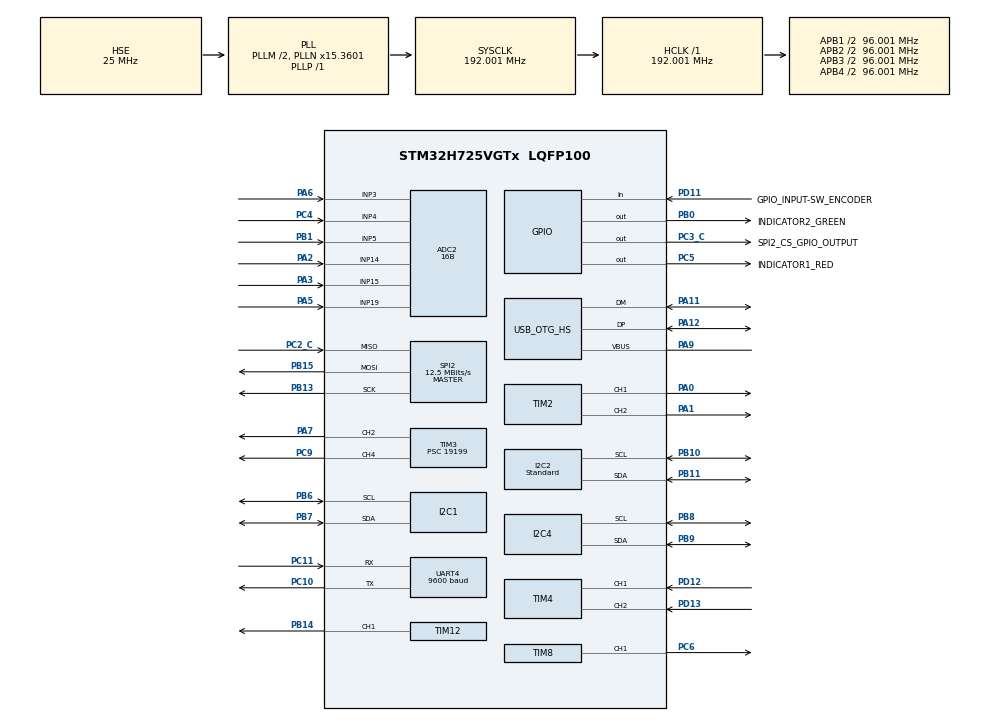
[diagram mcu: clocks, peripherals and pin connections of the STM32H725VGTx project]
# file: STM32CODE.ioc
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ADC2.Channel-11\#ChannelRegularConversion=ADC_CHANNEL_14
ADC2.Channel-12\#ChannelRegularConversion=ADC_CHANNEL_15
ADC2.Channel-13\#ChannelRegularConversion=ADC_CHANNEL_19
ADC2.ClockPrescaler=ADC_CLOCK_ASYNC_DIV1
ADC2.ContinuousConvMode=DISABLE
ADC2.DiscontinuousConvMode=ENABLE
ADC2.EOCSelection=ADC_EOC_SEQ_CONV
ADC2.EnableRegularConversion=ENABLE
ADC2.NbrOfConversion=3
ADC2.NbrOfConversionFlag=1
ADC2.NbrOfDiscConversion=3
ADC2.OffsetNumber-11\#ChannelRegularConversion=ADC_OFFSET_NONE
ADC2.OffsetNumber-12\#ChannelRegularConversion=ADC_OFFSET_NONE
ADC2.OffsetNumber-13\#ChannelRegularConversion=ADC_OFFSET_NONE
ADC2.OffsetSignedSaturation-11\#ChannelRegularConversion=DISABLE
ADC2.OffsetSignedSaturation-12\#ChannelRegularConversion=DISABLE
ADC2.OffsetSignedSaturation-13\#ChannelRegularConversion=DISABLE
ADC2.Rank-11\#ChannelRegularConversion=1
ADC2.Rank-12\#ChannelRegularConversion=2
ADC2.Rank-13\#ChannelRegularConversion=3
ADC2.Resolution=ADC_RESOLUTION_16B
ADC2.SamplingTime-11\#ChannelRegularConversion=ADC_SAMPLETIME_387CYCLES_5
ADC2.SamplingTime-12\#ChannelRegularConversion=ADC_SAMPLETIME_387CYCLES_5
ADC2.SamplingTime-13\#ChannelRegularConversion=ADC_SAMPLETIME_387CYCLES_5
CORTEX_M7.default_mode_Activation=1
I2C1.Timing=0x10C0D8FF
I2C2.I2C_Speed_Mode=I2C_Standard
I2C2.Timing=0x10C0D8FF
I2C4.Timing=0x10C0D8FF
Mcu.Family=STM32H7
Mcu.Name=STM32H725VGTx
Mcu.Package=LQFP100
NVIC.ADC_IRQn=true\:0\:0\:false\:false\:true\:true\:true\:true
NVIC.OTG_HS_IRQn=true\:0\:0\:false\:false\:true\:false\:true\:true
NVIC.PriorityGroup=NVIC_PRIORITYGROUP_4
NVIC.UART4_IRQn=true\:0\:0\:false\:false\:true\:true\:true\:true
PA0.Signal=S_TIM2_CH1_ETR
PA1.Signal=S_TIM2_CH2
PA11.Mode=Device_Only_FS
PA11.Signal=USB_OTG_HS_DM
PA12.Mode=Device_Only_FS
PA12.Signal=USB_OTG_HS_DP
PA13(JTMS/SWDIO).Mode=JTAG_5_pins
PA13(JTMS/SWDIO).Signal=DEBUG_JTMS-SWDIO
PA14(JTCK/SWCLK).Mode=JTAG_5_pins
PA14(JTCK/SWCLK).Signal=DEBUG_JTCK-SWCLK
PA15(JTDI).Mode=JTAG_5_pins
PA15(JTDI).Signal=DEBUG_JTDI
PA2.Signal=ADCx_INP14
PA3.Signal=ADCx_INP15
PA5.Signal=ADCx_INP19
PA6.Signal=ADCx_INP3
PA7.Signal=S_TIM3_CH2
PA9.Mode=Activate_VBUS_FS
PA9.Signal=USB_OTG_HS_VBUS
PB0.GPIO_Label=INDICATOR2_GREEN
PB0.Signal=GPIO_Output
PB1.Signal=ADCx_INP5
PB10.Mode=I2C
PB10.Signal=I2C2_SCL
PB11.Mode=I2C
PB11.Signal=I2C2_SDA
PB13.Mode=Full_Duplex_Master
PB13.Signal=SPI2_SCK
PB14.Signal=S_TIM12_CH1
PB15.Mode=Full_Duplex_Master
PB15.Signal=SPI2_MOSI
PB3(JTDO/TRACESWO).Mode=JTAG_5_pins
PB3(JTDO/TRACESWO).Signal=DEBUG_JTDO-SWO
PB4(NJTRST).Mode=JTAG_5_pins
PB4(NJTRST).Signal=DEBUG_JTRST
PB6.Mode=I2C
PB6.Signal=I2C1_SCL
PB7.Mode=I2C
PB7.Signal=I2C1_SDA
PB8.Mode=I2C
PB8.Signal=I2C4_SCL
PB9.Mode=I2C
PB9.Signal=I2C4_SDA
PC10.Mode=Asynchronous
PC10.Signal=UART4_TX
PC11.Mode=Asynchronous
PC11.Signal=UART4_RX
PC14-OSC32_IN.Mode=LSE-External-Oscillator
PC14-OSC32_IN.Signal=RCC_OSC32_IN
PC15-OSC32_OUT.Mode=LSE-External-Oscillator
PC15-OSC32_OUT.Signal=RCC_OSC32_OUT
PC2_C.Mode=Full_Duplex_Master
PC2_C.Signal=SPI2_MISO
PC3_C.GPIO_Label=SPI2_CS_GPIO_OUTPUT
PC3_C.Signal=GPIO_Output
PC4.Signal=ADCx_INP4
PC5.GPIO_Label=INDICATOR1_RED
PC5.PinState=GPIO_PIN_SET
PC5.Signal=GPIO_Output
PC6.Signal=S_TIM8_CH1
PC9.Signal=S_TIM3_CH4
PD11.GPIO_Label=GPIO_INPUT-SW_ENCODER
PD11.GPIO_PuPd=GPIO_NOPULL
PD11.Signal=GPIO_Input
PD12.GPIO_PuPd=GPIO_NOPULL
PD12.Signal=S_TIM4_CH1
PD13.GPIO_PuPd=GPIO_NOPULL
PD13.Signal=S_TIM4_CH2
PH0-OSC_IN.Mode=HSE-External-Oscillator
PH0-OSC_IN.Signal=RCC_OSC_IN
PH1-OSC_OUT.Mode=HSE-External-Oscillator
PH1-OSC_OUT.Signal=RCC_OSC_OUT
ProjectManager.HeapSize=0x200
ProjectManager.StackSize=0x400
ProjectManager.TargetToolchain=STM32CubeIDE
RCC.ADCCLockSelection=RCC_ADCCLKSOURCE_CLKP
RCC.ADCFreq_Value=25000000
RCC.APB1Freq_Value=96000671.38671875
RCC.APB2Freq_Value=96000671.38671875
RCC.APB3Freq_Value=96000671.38671875
RCC.APB4Freq_Value=96000671.38671875
RCC.CKPERSourceSelection=RCC_CLKPSOURCE_HSE
RCC.CortexFreq_Value=192001342.7734375
RCC.D1PPRE=RCC_APB3_DIV2
RCC.D2PPRE1=RCC_APB1_DIV2
RCC.D2PPRE2=RCC_APB2_DIV2
RCC.D3PPRE=RCC_APB4_DIV2
RCC.DIVM1=2
RCC.DIVM2=4
RCC.DIVN1=15
RCC.DIVN2=12
RCC.DIVP1=1
RCC.DIVP2=5
RCC.DIVQ1=4
RCC.HCLKFreq_Value=192001342.7734375
RCC.PLL2FRACN=0
RCC.PLL3FRACN=0
RCC.PLLFRACN=2950
RCC.PLLSourceVirtual=RCC_PLLSOURCE_HSE
RCC.SPI123CLockSelection=RCC_SPI123CLKSOURCE_CLKP
RCC.SYSCLKFreq_VALUE=192001342.7734375
RCC.SYSCLKSource=RCC_SYSCLKSOURCE_PLLCLK
RCC.SupplySource=PWR_LDO_SUPPLY
RCC.USBCLockSelection=RCC_USBCLKSOURCE_HSI48
RCC.USBFreq_Value=48000000
SH.ADCx_INP14.0=ADC2_INP14,IN14-Single-Ended
SH.ADCx_INP15.0=ADC2_INP15,IN15-Single-Ended
SH.ADCx_INP19.0=ADC2_INP19,IN19-Single-Ended
SH.ADCx_INP3.0=ADC2_INP3,IN3-Single-Ended
SH.ADCx_INP4.0=ADC2_INP4,IN4-Single-Ended
SH.ADCx_INP5.0=ADC2_INP5,IN5-Single-Ended
SH.S_TIM12_CH1.0=TIM12_CH1,PWM Generation1 CH1
SH.S_TIM2_CH1_ETR.0=TIM2_CH1,PWM Generation1 CH1
SH.S_TIM2_CH2.0=TIM2_CH2,PWM Generation2 CH2
SH.S_TIM3_CH2.0=TIM3_CH2,PWM Generation2 CH2
SH.S_TIM3_CH4.0=TIM3_CH4,PWM Generation4 CH4
SH.S_TIM4_CH1.0=TIM4_CH1,Encoder_Interface
SH.S_TIM4_CH2.0=TIM4_CH2,Encoder_Interface
SH.S_TIM8_CH1.0=TIM8_CH1,PWM Generation1 CH1
SPI2.BaudRatePrescaler=SPI_BAUDRATEPRESCALER_2
SPI2.CalculateBaudRate=12.5 MBits/s
SPI2.Direction=SPI_DIRECTION_2LINES
SPI2.Mode=SPI_MODE_MASTER
SPI2.VirtualType=VM_MASTER
TIM12.Channel-PWM\ Generation1\ CH1=TIM_CHANNEL_1
TIM2.Channel-PWM\ Generation1\ CH1=TIM_CHANNEL_1
TIM2.Channel-PWM\ Generation2\ CH2=TIM_CHANNEL_2
TIM3.AutoReloadPreload=TIM_AUTORELOAD_PRELOAD_DISABLE
TIM3.Channel-PWM\ Generation2\ CH2=TIM_CHANNEL_2
TIM3.Channel-PWM\ Generation4\ CH4=TIM_CHANNEL_4
TIM3.OCPolarity_4=TIM_OCPOLARITY_LOW
TIM3.Period=19999
TIM3.Prescaler=19199
TIM4.AutoReloadPreload=TIM_AUTORELOAD_PRELOAD_ENABLE
TIM4.EncoderMode=TIM_ENCODERMODE_TI12
TIM4.IC1Filter=10
TIM4.IC1Polarity=TIM_ICPOLARITY_RISING
TIM4.IC2Filter=0
TIM4.IC2Polarity=TIM_ICPOLARITY_RISING
TIM4.TIM_MasterOutputTrigger=TIM_TRGO_RESET
TIM8.Channel-PWM\ Generation1\ CH1=TIM_CHANNEL_1
UART4.BaudRate=9600
USB_DEVICE.CLASS_NAME_HS=CDC
USB_DEVICE.VirtualMode=Cdc
USB_DEVICE.VirtualModeHS=Cdc_HS
USB_OTG_HS.VirtualMode-Device_Only_FS=Device_Only_FS
VP_CORDIC_VS_CORDIC.Mode=CORDIC_Activate
VP_CRC_VS_CRC.Mode=CRC_Activate
VP_FMAC_VS_FMAC.Mode=FMAC_Activate
VP_MEMORYMAP_VS_MEMORYMAP.Mode=CurAppReg
VP_USB_DEVICE_VS_USB_DEVICE_CDC_HS.Mode=CDC_HS
board=custom

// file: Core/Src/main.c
/* USER CODE BEGIN Header */
/**
  ******************************************************************************
  * @file           : main.c
  * @brief          : Main program body
  ******************************************************************************
  * @attention
  *
  * Copyright (c) 2026 STMicroelectronics.
  * All rights reserved.
  *
  * This software is licensed under terms that can be found in the LICENSE file
  * in the root directory of this software component.
  * If no LICENSE file comes with this software, it is provided AS-IS.
  *
  ******************************************************************************
  */
/* USER CODE END Header */
#include "main.h"
#include "usb_device.h"

/* USER CODE BEGIN Includes */
#include <stdio.h>

#include "usbd_cdc_if.h"
extern USBD_HandleTypeDef hUsbDeviceHS;

#include "ssd1306.h"
#include "ssd1306_tests.h"
#include "ssd1306_fonts.h"

/* USER CODE END Includes */

ADC_HandleTypeDef hadc2;

CORDIC_HandleTypeDef hcordic;

CRC_HandleTypeDef hcrc;

FMAC_HandleTypeDef hfmac;

I2C_HandleTypeDef hi2c1;
I2C_HandleTypeDef hi2c2;
I2C_HandleTypeDef hi2c4;

SPI_HandleTypeDef hspi2;

TIM_HandleTypeDef htim2;
TIM_HandleTypeDef htim3;
TIM_HandleTypeDef htim4;
TIM_HandleTypeDef htim8;
TIM_HandleTypeDef htim12;

UART_HandleTypeDef huart4;

void SystemClock_Config(void);
void PeriphCommonClock_Config(void);
static void MPU_Config(void);
static void MX_GPIO_Init(void);
static void MX_I2C1_Init(void);
static void MX_I2C2_Init(void);
static void MX_SPI2_Init(void);
static void MX_TIM2_Init(void);
static void MX_TIM3_Init(void);
static void MX_TIM4_Init(void);
static void MX_TIM8_Init(void);
static void MX_TIM12_Init(void);
static void MX_UART4_Init(void);
static void MX_ADC2_Init(void);
static void MX_I2C4_Init(void);
static void MX_CORDIC_Init(void);
static void MX_CRC_Init(void);
static void MX_FMAC_Init(void);

/* USER CODE BEGIN 0 */

float voltage[3];
const float vref = 3.3f; // Voltage reference set by STM32H on VREF+
const uint32_t fs = 65535; // 16 bits ADC
float current2[3];
const float offset = 2.6f; // Datasheet: 2.5V, measured: ~2.6V
const float sensitivity = 0.8f; // Datasheet: 800mV per 1A

  uint8_t vbus[2];
  float vbus_real;

  uint8_t current[2];
  float current_real;

//ADC for ACS
uint32_t adc_buff[3];
uint8_t adc_ready = 0;

//UART4 - SBs
uint8_t rx_data[1];
uint8_t tx_data[1] = "t";

//screen
char buffer[40];
char buffer1[40];
char buffer2[40];
char buffer3[40];
volatile uint16_t encoder_value = 0;
volatile uint16_t encoder_last_value = 0;
volatile uint8_t encoder_changed = 0;

uint8_t switch_state;

void HAL_ADC_ConvCpltCallback(ADC_HandleTypeDef* hadc)
{
	adc_ready = 1;
}

void HAL_UART_RxCpltCallback(UART_HandleTypeDef *huart)
{
    if (huart->Instance == UART4)
    {
        HAL_UART_Transmit_IT(&huart4, tx_data, 1);
    }
}

void HAL_UART_TxCpltCallback(UART_HandleTypeDef *huart)
{
    if (huart->Instance == UART4)
    {
        HAL_UART_Receive_IT(&huart4, rx_data, 1);
    }
}

void HAL_TIM_IC_CaptureCallback(TIM_HandleTypeDef *htim)
{
    encoder_value = __HAL_TIM_GET_COUNTER(htim);
    encoder_changed = 1;
}

/* USER CODE END 0 */

int main(void)
{

  /* MPU Configuration--------------------------------------------------------*/
  MPU_Config();

  /* MCU Configuration--------------------------------------------------------*/

  /* Reset of all peripherals, Initializes the Flash interface and the Systick. */
  HAL_Init();

  /* Configure the system clock */
  SystemClock_Config();

  /* Configure the peripherals common clocks */
  PeriphCommonClock_Config();

  /* Initialize all configured peripherals */
  MX_GPIO_Init();
  MX_I2C1_Init();
  MX_I2C2_Init();
  MX_SPI2_Init();
  MX_TIM2_Init();
  MX_TIM3_Init();
  MX_TIM4_Init();
  MX_TIM8_Init();
  MX_TIM12_Init();
  MX_UART4_Init();
  MX_ADC2_Init();
  MX_I2C4_Init();
  MX_CORDIC_Init();
  MX_CRC_Init();
  MX_FMAC_Init();
  MX_USB_DEVICE_Init();

  /* Infinite loop */
  /* USER CODE BEGIN WHILE */

  /*s
  HAL_ADCEx_Calibration_Start(&hadc2, ADC_CALIB_OFFSET, ADC_SINGLE_ENDED);
  HAL_ADC_Start_IT(&hadc2);
  */

  HAL_TIM_PWM_Start(&htim3, TIM_CHANNEL_2);
  HAL_TIM_PWM_Start(&htim3, TIM_CHANNEL_4);

  ssd1306_Init();
  ssd1306_Fill(Black);

  HAL_TIM_Encoder_Start_IT(&htim4, TIM_CHANNEL_ALL);

  while (1)
  {

	  /*
	   *
	  HAL_UART_Transmit_IT(&huart4, tx_data, 1);
	   */

	  /**
	   * Selects the PWMx channel and defines the duty cycle.
	   *
	   */
	  __HAL_TIM_SET_COMPARE(&htim3, TIM_CHANNEL_2, 10000); // 50%
	  __HAL_TIM_SET_COMPARE(&htim3, TIM_CHANNEL_4, 10000); // 50%

	  /*
	   * Populating the buffer with available channels.
	   *
	   * The voltage readings are scaled down by half by voltage dividers.
	   * They need to multiply by 2.
	   *
	   */

	  HAL_ADC_Start_IT(&hadc2);
	  if(adc_ready == 1) {
		  adc_ready = 0;

		  for(int var = 0; var <= 2; var++){
			  adc_buff[var] = HAL_ADC_GetValue(&hadc2);
			  voltage[var] = 2*((adc_buff[var] * vref) / fs); // Multiplied by 2
			  current2[var] =(voltage[var]-offset)/sensitivity;
		  }
	  }

	  HAL_GPIO_TogglePin(GPIOB, GPIO_PIN_0);

	  /*
	   * Config Reset
	   *
	   *
	   */
		uint8_t configuration_write[2] = {0x00, 0x00};
		HAL_I2C_Mem_Write(&hi2c4, 0x41 << 1, 0x00, I2C_MEMADD_SIZE_8BIT, configuration_write, 2, HAL_MAX_DELAY);

		uint8_t configuration_read[2];
		HAL_I2C_Mem_Read(&hi2c4, (0x41 << 1), 0x0B,
						 I2C_MEMADD_SIZE_8BIT,
						 configuration_read, 2, HAL_MAX_DELAY);

	  /**
	   * Continuous Modes
	   * Current, Voltage and Temperature registers are updated continuously
	   * In single-shot mode, a trigger is required to start the measurement.
	   *
	   */

		uint8_t continuous_mode_write[2] = {0xF0, 0x00}; // Sets continuous mode for current/temp/bus_voltage
		HAL_I2C_Mem_Write(&hi2c4,
						  (0x41 << 1),
						  0x01,
						  I2C_MEMADD_SIZE_8BIT,
						  continuous_mode_write,
						  2,
						  HAL_MAX_DELAY);

		uint8_t continuous_mode_read[2]; // Reads the continuous mode settings
		HAL_I2C_Mem_Read(&hi2c4,
						 (0x41 << 1),
						 0x01,
						 I2C_MEMADD_SIZE_8BIT,
						 continuous_mode_read,
						 2,
						 HAL_MAX_DELAY);

	  	  /*
	  	   * VBUS measurement
	  	   * Conversion Factor: 3.125mV LSB
	  	   *
	  	   */

	  	  HAL_I2C_Mem_Read(&hi2c4,
	  	                   (0x41 << 1),
	  	                   0x05,   // VBUS register
	  	                   I2C_MEMADD_SIZE_8BIT,
						   vbus,
	  	                   2,
	  	                   HAL_MAX_DELAY);

	  	  uint16_t vbus_reading = (uint16_t)((vbus[0] << 8) | vbus[1]);
	  	  vbus_real = vbus_reading  * 0.003125f;

	  	  /*
	  	   * Current measurement
	  	   * Conversion Factor: 1.2mV LSB
	  	   *
	  	   */

	  	  HAL_I2C_Mem_Read(&hi2c4,
	  	                   (0x41 << 1),
	  	                   0x07,   // VBUS register
	  	                   I2C_MEMADD_SIZE_8BIT,
						   current,
	  	                   2,
	  	                   HAL_MAX_DELAY);

	  	  int16_t current_reading = (current[0] << 8) | current[1];
	  	  current_real = current_reading  * 0.0012f;

	      if (HAL_GPIO_ReadPin(GPIOD, GPIO_PIN_11) == GPIO_PIN_SET)
	      {
	          HAL_GPIO_WritePin(GPIOB, GPIO_PIN_0, GPIO_PIN_SET);
	          switch_state = 1;
	      } else {
	    	  HAL_GPIO_WritePin(GPIOB, GPIO_PIN_0, GPIO_PIN_RESET); // LD1 OFF
	    	  switch_state = 0;
	      }

		  ssd1306_SetCursor(6, 4);
		  ssd1306_WriteString("uMMC .v1.0", Font_7x10, White);

		  int whole = (int)current_real;
		  int frac = (int)((current_real - whole) * 100);

		  if (frac < 0) frac = -frac;

		  snprintf(buffer, sizeof(buffer), "Current: %d.%02d A", whole, frac);

		  ssd1306_SetCursor(6, 20);
		  ssd1306_WriteString(buffer, Font_7x10, White);

		  int whole1 = (int)vbus_real;
		  int frac1 = (int)((vbus_real - whole1) * 100);

		  if (frac1 < 0) frac1 = -frac1;

		  snprintf(buffer1, sizeof(buffer1), "Voltage: %d.%02d V", whole1, frac1);

		  ssd1306_SetCursor(6, 30);
		  ssd1306_WriteString(buffer1, Font_7x10, White);

		  int whole2 = (int)voltage[0];
		  int frac2 = (int)((voltage[0] - whole2) * 100);

		  if (frac2 < 0) frac2 = -frac2;

		  snprintf(buffer2, sizeof(buffer2), "ACS_V: %d.%02d V", whole2, frac2);

		  ssd1306_SetCursor(6, 40);
		  ssd1306_WriteString(buffer2, Font_7x10, White);

		  int whole3 = (int)current2[0];
		  int frac3 = (int)((current2[0] - whole3) * 100);

		  if (frac3 < 0) frac3 = -frac3;

		  snprintf(buffer3, sizeof(buffer3), "ACS_I: %d.%02d A", whole3, frac3);

		  ssd1306_SetCursor(6, 50);
		  ssd1306_WriteString(buffer3, Font_7x10, White);
		  ssd1306_UpdateScreen();

/*
	    HAL_GPIO_WritePin(GPIOB, GPIO_PIN_0, GPIO_PIN_SET);
	    HAL_Delay(250);
	    HAL_GPIO_WritePin(GPIOB, GPIO_PIN_0, GPIO_PIN_RESET);
	    HAL_Delay(250);
*/

    /* USER CODE END WHILE */

  }
}

void SystemClock_Config(void)
{
  RCC_OscInitTypeDef RCC_OscInitStruct = {0};
  RCC_ClkInitTypeDef RCC_ClkInitStruct = {0};

  /** Supply configuration update enable
  */
  HAL_PWREx_ConfigSupply(PWR_LDO_SUPPLY);

  /** Configure the main internal regulator output voltage
  */
  __HAL_PWR_VOLTAGESCALING_CONFIG(PWR_REGULATOR_VOLTAGE_SCALE1);

  while(!__HAL_PWR_GET_FLAG(PWR_FLAG_VOSRDY)) {}

  /** Initializes the RCC Oscillators according to the specified parameters
  * in the RCC_OscInitTypeDef structure.
  */
  RCC_OscInitStruct.OscillatorType = RCC_OSCILLATORTYPE_HSI48|RCC_OSCILLATORTYPE_HSE;
  RCC_OscInitStruct.HSEState = RCC_HSE_ON;
  RCC_OscInitStruct.HSI48State = RCC_HSI48_ON;
  RCC_OscInitStruct.PLL.PLLState = RCC_PLL_ON;
  RCC_OscInitStruct.PLL.PLLSource = RCC_PLLSOURCE_HSE;
  RCC_OscInitStruct.PLL.PLLM = 2;
  RCC_OscInitStruct.PLL.PLLN = 15;
  RCC_OscInitStruct.PLL.PLLP = 1;
  RCC_OscInitStruct.PLL.PLLQ = 4;
  RCC_OscInitStruct.PLL.PLLR = 2;
  RCC_OscInitStruct.PLL.PLLRGE = RCC_PLL1VCIRANGE_3;
  RCC_OscInitStruct.PLL.PLLVCOSEL = RCC_PLL1VCOWIDE;
  RCC_OscInitStruct.PLL.PLLFRACN = 2950;
  if (HAL_RCC_OscConfig(&RCC_OscInitStruct) != HAL_OK)
  {
    Error_Handler();
  }

  /** Initializes the CPU, AHB and APB buses clocks
  */
  RCC_ClkInitStruct.ClockType = RCC_CLOCKTYPE_HCLK|RCC_CLOCKTYPE_SYSCLK
                              |RCC_CLOCKTYPE_PCLK1|RCC_CLOCKTYPE_PCLK2
                              |RCC_CLOCKTYPE_D3PCLK1|RCC_CLOCKTYPE_D1PCLK1;
  RCC_ClkInitStruct.SYSCLKSource = RCC_SYSCLKSOURCE_PLLCLK;
  RCC_ClkInitStruct.SYSCLKDivider = RCC_SYSCLK_DIV1;
  RCC_ClkInitStruct.AHBCLKDivider = RCC_HCLK_DIV1;
  RCC_ClkInitStruct.APB3CLKDivider = RCC_APB3_DIV2;
  RCC_ClkInitStruct.APB1CLKDivider = RCC_APB1_DIV2;
  RCC_ClkInitStruct.APB2CLKDivider = RCC_APB2_DIV2;
  RCC_ClkInitStruct.APB4CLKDivider = RCC_APB4_DIV2;

  if (HAL_RCC_ClockConfig(&RCC_ClkInitStruct, FLASH_LATENCY_2) != HAL_OK)
  {
    Error_Handler();
  }
}

void PeriphCommonClock_Config(void)
{
  RCC_PeriphCLKInitTypeDef PeriphClkInitStruct = {0};

  /** Initializes the peripherals clock
  */
  PeriphClkInitStruct.PeriphClockSelection = RCC_PERIPHCLK_CKPER;
  PeriphClkInitStruct.CkperClockSelection = RCC_CLKPSOURCE_HSE;
  if (HAL_RCCEx_PeriphCLKConfig(&PeriphClkInitStruct) != HAL_OK)
  {
    Error_Handler();
  }
}

static void MX_ADC2_Init(void)
{

  ADC_ChannelConfTypeDef sConfig = {0};

  /** Common config
  */
  hadc2.Instance = ADC2;
  hadc2.Init.ClockPrescaler = ADC_CLOCK_ASYNC_DIV1;
  hadc2.Init.Resolution = ADC_RESOLUTION_16B;
  hadc2.Init.ScanConvMode = ADC_SCAN_ENABLE;
  hadc2.Init.EOCSelection = ADC_EOC_SEQ_CONV;
  hadc2.Init.LowPowerAutoWait = DISABLE;
  hadc2.Init.ContinuousConvMode = DISABLE;
  hadc2.Init.NbrOfConversion = 3;
  hadc2.Init.DiscontinuousConvMode = ENABLE;
  hadc2.Init.NbrOfDiscConversion = 3;
  hadc2.Init.ExternalTrigConv = ADC_SOFTWARE_START;
  hadc2.Init.ExternalTrigConvEdge = ADC_EXTERNALTRIGCONVEDGE_NONE;
  hadc2.Init.ConversionDataManagement = ADC_CONVERSIONDATA_DR;
  hadc2.Init.Overrun = ADC_OVR_DATA_PRESERVED;
  hadc2.Init.LeftBitShift = ADC_LEFTBITSHIFT_NONE;
  hadc2.Init.OversamplingMode = DISABLE;
  hadc2.Init.Oversampling.Ratio = 1;
  if (HAL_ADC_Init(&hadc2) != HAL_OK)
  {
    Error_Handler();
  }

  /** Configure Regular Channel
  */
  sConfig.Channel = ADC_CHANNEL_14;
  sConfig.Rank = ADC_REGULAR_RANK_1;
  sConfig.SamplingTime = ADC_SAMPLETIME_387CYCLES_5;
  sConfig.SingleDiff = ADC_SINGLE_ENDED;
  sConfig.OffsetNumber = ADC_OFFSET_NONE;
  sConfig.Offset = 0;
  sConfig.OffsetSignedSaturation = DISABLE;
  if (HAL_ADC_ConfigChannel(&hadc2, &sConfig) != HAL_OK)
  {
    Error_Handler();
  }

  /** Configure Regular Channel
  */
  sConfig.Channel = ADC_CHANNEL_15;
  sConfig.Rank = ADC_REGULAR_RANK_2;
  if (HAL_ADC_ConfigChannel(&hadc2, &sConfig) != HAL_OK)
  {
    Error_Handler();
  }

  /** Configure Regular Channel
  */
  sConfig.Channel = ADC_CHANNEL_19;
  sConfig.Rank = ADC_REGULAR_RANK_3;
  if (HAL_ADC_ConfigChannel(&hadc2, &sConfig) != HAL_OK)
  {
    Error_Handler();
  }

}

static void MX_CORDIC_Init(void)
{

  hcordic.Instance = CORDIC;
  if (HAL_CORDIC_Init(&hcordic) != HAL_OK)
  {
    Error_Handler();
  }

}

static void MX_CRC_Init(void)
{

  hcrc.Instance = CRC;
  hcrc.Init.DefaultPolynomialUse = DEFAULT_POLYNOMIAL_ENABLE;
  hcrc.Init.DefaultInitValueUse = DEFAULT_INIT_VALUE_ENABLE;
  hcrc.Init.InputDataInversionMode = CRC_INPUTDATA_INVERSION_NONE;
  hcrc.Init.OutputDataInversionMode = CRC_OUTPUTDATA_INVERSION_DISABLE;
  hcrc.InputDataFormat = CRC_INPUTDATA_FORMAT_BYTES;
  if (HAL_CRC_Init(&hcrc) != HAL_OK)
  {
    Error_Handler();
  }

}

static void MX_FMAC_Init(void)
{

  hfmac.Instance = FMAC;
  if (HAL_FMAC_Init(&hfmac) != HAL_OK)
  {
    Error_Handler();
  }

}

static void MX_I2C1_Init(void)
{

  hi2c1.Instance = I2C1;
  hi2c1.Init.Timing = 0x10C0D8FF;
  hi2c1.Init.OwnAddress1 = 0;
  hi2c1.Init.AddressingMode = I2C_ADDRESSINGMODE_7BIT;
  hi2c1.Init.DualAddressMode = I2C_DUALADDRESS_DISABLE;
  hi2c1.Init.OwnAddress2 = 0;
  hi2c1.Init.OwnAddress2Masks = I2C_OA2_NOMASK;
  hi2c1.Init.GeneralCallMode = I2C_GENERALCALL_DISABLE;
  hi2c1.Init.NoStretchMode = I2C_NOSTRETCH_DISABLE;
  if (HAL_I2C_Init(&hi2c1) != HAL_OK)
  {
    Error_Handler();
  }

  /** Configure Analogue filter
  */
  if (HAL_I2CEx_ConfigAnalogFilter(&hi2c1, I2C_ANALOGFILTER_ENABLE) != HAL_OK)
  {
    Error_Handler();
  }

  /** Configure Digital filter
  */
  if (HAL_I2CEx_ConfigDigitalFilter(&hi2c1, 0) != HAL_OK)
  {
    Error_Handler();
  }

}

static void MX_I2C2_Init(void)
{

  hi2c2.Instance = I2C2;
  hi2c2.Init.Timing = 0x10C0D8FF;
  hi2c2.Init.OwnAddress1 = 0;
  hi2c2.Init.AddressingMode = I2C_ADDRESSINGMODE_7BIT;
  hi2c2.Init.DualAddressMode = I2C_DUALADDRESS_DISABLE;
  hi2c2.Init.OwnAddress2 = 0;
  hi2c2.Init.OwnAddress2Masks = I2C_OA2_NOMASK;
  hi2c2.Init.GeneralCallMode = I2C_GENERALCALL_DISABLE;
  hi2c2.Init.NoStretchMode = I2C_NOSTRETCH_DISABLE;
  if (HAL_I2C_Init(&hi2c2) != HAL_OK)
  {
    Error_Handler();
  }

  /** Configure Analogue filter
  */
  if (HAL_I2CEx_ConfigAnalogFilter(&hi2c2, I2C_ANALOGFILTER_ENABLE) != HAL_OK)
  {
    Error_Handler();
  }

  /** Configure Digital filter
  */
  if (HAL_I2CEx_ConfigDigitalFilter(&hi2c2, 0) != HAL_OK)
  {
    Error_Handler();
  }

}

static void MX_I2C4_Init(void)
{

  hi2c4.Instance = I2C4;
  hi2c4.Init.Timing = 0x10C0D8FF;
  hi2c4.Init.OwnAddress1 = 0;
  hi2c4.Init.AddressingMode = I2C_ADDRESSINGMODE_7BIT;
  hi2c4.Init.DualAddressMode = I2C_DUALADDRESS_DISABLE;
  hi2c4.Init.OwnAddress2 = 0;
  hi2c4.Init.OwnAddress2Masks = I2C_OA2_NOMASK;
  hi2c4.Init.GeneralCallMode = I2C_GENERALCALL_DISABLE;
  hi2c4.Init.NoStretchMode = I2C_NOSTRETCH_DISABLE;
  if (HAL_I2C_Init(&hi2c4) != HAL_OK)
  {
    Error_Handler();
  }

  /** Configure Analogue filter
  */
  if (HAL_I2CEx_ConfigAnalogFilter(&hi2c4, I2C_ANALOGFILTER_ENABLE) != HAL_OK)
  {
    Error_Handler();
  }

  /** Configure Digital filter
  */
  if (HAL_I2CEx_ConfigDigitalFilter(&hi2c4, 0) != HAL_OK)
  {
    Error_Handler();
  }

}

static void MX_SPI2_Init(void)
{

  /* SPI2 parameter configuration*/
  hspi2.Instance = SPI2;
  hspi2.Init.Mode = SPI_MODE_MASTER;
  hspi2.Init.Direction = SPI_DIRECTION_2LINES;
  hspi2.Init.DataSize = SPI_DATASIZE_4BIT;
  hspi2.Init.CLKPolarity = SPI_POLARITY_LOW;
  hspi2.Init.CLKPhase = SPI_PHASE_1EDGE;
  hspi2.Init.NSS = SPI_NSS_SOFT;
  hspi2.Init.BaudRatePrescaler = SPI_BAUDRATEPRESCALER_2;
  hspi2.Init.FirstBit = SPI_FIRSTBIT_MSB;
  hspi2.Init.TIMode = SPI_TIMODE_DISABLE;
  hspi2.Init.CRCCalculation = SPI_CRCCALCULATION_DISABLE;
  hspi2.Init.CRCPolynomial = 0x0;
  hspi2.Init.NSSPMode = SPI_NSS_PULSE_ENABLE;
  hspi2.Init.NSSPolarity = SPI_NSS_POLARITY_LOW;
  hspi2.Init.FifoThreshold = SPI_FIFO_THRESHOLD_01DATA;
  hspi2.Init.TxCRCInitializationPattern = SPI_CRC_INITIALIZATION_ALL_ZERO_PATTERN;
  hspi2.Init.RxCRCInitializationPattern = SPI_CRC_INITIALIZATION_ALL_ZERO_PATTERN;
  hspi2.Init.MasterSSIdleness = SPI_MASTER_SS_IDLENESS_00CYCLE;
  hspi2.Init.MasterInterDataIdleness = SPI_MASTER_INTERDATA_IDLENESS_00CYCLE;
  hspi2.Init.MasterReceiverAutoSusp = SPI_MASTER_RX_AUTOSUSP_DISABLE;
  hspi2.Init.MasterKeepIOState = SPI_MASTER_KEEP_IO_STATE_DISABLE;
  hspi2.Init.IOSwap = SPI_IO_SWAP_DISABLE;
  if (HAL_SPI_Init(&hspi2) != HAL_OK)
  {
    Error_Handler();
  }

}

static void MX_TIM2_Init(void)
{

  TIM_MasterConfigTypeDef sMasterConfig = {0};
  TIM_OC_InitTypeDef sConfigOC = {0};

  htim2.Instance = TIM2;
  htim2.Init.Prescaler = 0;
  htim2.Init.CounterMode = TIM_COUNTERMODE_UP;
  htim2.Init.Period = 4294967295;
  htim2.Init.ClockDivision = TIM_CLOCKDIVISION_DIV1;
  htim2.Init.AutoReloadPreload = TIM_AUTORELOAD_PRELOAD_DISABLE;
  if (HAL_TIM_PWM_Init(&htim2) != HAL_OK)
  {
    Error_Handler();
  }
  sMasterConfig.MasterOutputTrigger = TIM_TRGO_RESET;
  sMasterConfig.MasterSlaveMode = TIM_MASTERSLAVEMODE_DISABLE;
  if (HAL_TIMEx_MasterConfigSynchronization(&htim2, &sMasterConfig) != HAL_OK)
  {
    Error_Handler();
  }
  sConfigOC.OCMode = TIM_OCMODE_PWM1;
  sConfigOC.Pulse = 0;
  sConfigOC.OCPolarity = TIM_OCPOLARITY_HIGH;
  sConfigOC.OCFastMode = TIM_OCFAST_DISABLE;
  if (HAL_TIM_PWM_ConfigChannel(&htim2, &sConfigOC, TIM_CHANNEL_1) != HAL_OK)
  {
    Error_Handler();
  }
  if (HAL_TIM_PWM_ConfigChannel(&htim2, &sConfigOC, TIM_CHANNEL_2) != HAL_OK)
  {
    Error_Handler();
  }
  HAL_TIM_MspPostInit(&htim2);

}

static void MX_TIM3_Init(void)
{

  TIM_MasterConfigTypeDef sMasterConfig = {0};
  TIM_OC_InitTypeDef sConfigOC = {0};

  htim3.Instance = TIM3;
  htim3.Init.Prescaler = 19199;
  htim3.Init.CounterMode = TIM_COUNTERMODE_UP;
  htim3.Init.Period = 19999;
  htim3.Init.ClockDivision = TIM_CLOCKDIVISION_DIV1;
  htim3.Init.AutoReloadPreload = TIM_AUTORELOAD_PRELOAD_DISABLE;
  if (HAL_TIM_PWM_Init(&htim3) != HAL_OK)
  {
    Error_Handler();
  }
  sMasterConfig.MasterOutputTrigger = TIM_TRGO_RESET;
  sMasterConfig.MasterSlaveMode = TIM_MASTERSLAVEMODE_DISABLE;
  if (HAL_TIMEx_MasterConfigSynchronization(&htim3, &sMasterConfig) != HAL_OK)
  {
    Error_Handler();
  }
  sConfigOC.OCMode = TIM_OCMODE_PWM1;
  sConfigOC.Pulse = 0;
  sConfigOC.OCPolarity = TIM_OCPOLARITY_HIGH;
  sConfigOC.OCFastMode = TIM_OCFAST_DISABLE;
  if (HAL_TIM_PWM_ConfigChannel(&htim3, &sConfigOC, TIM_CHANNEL_2) != HAL_OK)
  {
    Error_Handler();
  }
  sConfigOC.OCPolarity = TIM_OCPOLARITY_LOW;
  if (HAL_TIM_PWM_ConfigChannel(&htim3, &sConfigOC, TIM_CHANNEL_4) != HAL_OK)
  {
    Error_Handler();
  }
  HAL_TIM_MspPostInit(&htim3);

}

static void MX_TIM4_Init(void)
{

  TIM_Encoder_InitTypeDef sConfig = {0};
  TIM_MasterConfigTypeDef sMasterConfig = {0};

  htim4.Instance = TIM4;
  htim4.Init.Prescaler = 0;
  htim4.Init.CounterMode = TIM_COUNTERMODE_UP;
  htim4.Init.Period = 65535;
  htim4.Init.ClockDivision = TIM_CLOCKDIVISION_DIV1;
  htim4.Init.AutoReloadPreload = TIM_AUTORELOAD_PRELOAD_ENABLE;
  sConfig.EncoderMode = TIM_ENCODERMODE_TI12;
  sConfig.IC1Polarity = TIM_ICPOLARITY_RISING;
  sConfig.IC1Selection = TIM_ICSELECTION_DIRECTTI;
  sConfig.IC1Prescaler = TIM_ICPSC_DIV1;
  sConfig.IC1Filter = 10;
  sConfig.IC2Polarity = TIM_ICPOLARITY_RISING;
  sConfig.IC2Selection = TIM_ICSELECTION_DIRECTTI;
  sConfig.IC2Prescaler = TIM_ICPSC_DIV1;
  sConfig.IC2Filter = 0;
  if (HAL_TIM_Encoder_Init(&htim4, &sConfig) != HAL_OK)
  {
    Error_Handler();
  }
  sMasterConfig.MasterOutputTrigger = TIM_TRGO_RESET;
  sMasterConfig.MasterSlaveMode = TIM_MASTERSLAVEMODE_DISABLE;
  if (HAL_TIMEx_MasterConfigSynchronization(&htim4, &sMasterConfig) != HAL_OK)
  {
    Error_Handler();
  }

}

static void MX_TIM8_Init(void)
{

  TIM_MasterConfigTypeDef sMasterConfig = {0};
  TIM_OC_InitTypeDef sConfigOC = {0};
  TIM_BreakDeadTimeConfigTypeDef sBreakDeadTimeConfig = {0};

  htim8.Instance = TIM8;
  htim8.Init.Prescaler = 0;
  htim8.Init.CounterMode = TIM_COUNTERMODE_UP;
  htim8.Init.Period = 65535;
  htim8.Init.ClockDivision = TIM_CLOCKDIVISION_DIV1;
  htim8.Init.RepetitionCounter = 0;
  htim8.Init.AutoReloadPreload = TIM_AUTORELOAD_PRELOAD_DISABLE;
  if (HAL_TIM_PWM_Init(&htim8) != HAL_OK)
  {
    Error_Handler();
  }
  sMasterConfig.MasterOutputTrigger = TIM_TRGO_RESET;
  sMasterConfig.MasterOutputTrigger2 = TIM_TRGO2_RESET;
  sMasterConfig.MasterSlaveMode = TIM_MASTERSLAVEMODE_DISABLE;
  if (HAL_TIMEx_MasterConfigSynchronization(&htim8, &sMasterConfig) != HAL_OK)
  {
    Error_Handler();
  }
  sConfigOC.OCMode = TIM_OCMODE_PWM1;
  sConfigOC.Pulse = 0;
  sConfigOC.OCPolarity = TIM_OCPOLARITY_HIGH;
  sConfigOC.OCNPolarity = TIM_OCNPOLARITY_HIGH;
  sConfigOC.OCFastMode = TIM_OCFAST_DISABLE;
  sConfigOC.OCIdleState = TIM_OCIDLESTATE_RESET;
  sConfigOC.OCNIdleState = TIM_OCNIDLESTATE_RESET;
  if (HAL_TIM_PWM_ConfigChannel(&htim8, &sConfigOC, TIM_CHANNEL_1) != HAL_OK)
  {
    Error_Handler();
  }
  sBreakDeadTimeConfig.OffStateRunMode = TIM_OSSR_DISABLE;
  sBreakDeadTimeConfig.OffStateIDLEMode = TIM_OSSI_DISABLE;
  sBreakDeadTimeConfig.LockLevel = TIM_LOCKLEVEL_OFF;
  sBreakDeadTimeConfig.DeadTime = 0;
  sBreakDeadTimeConfig.BreakState = TIM_BREAK_DISABLE;
  sBreakDeadTimeConfig.BreakPolarity = TIM_BREAKPOLARITY_HIGH;
  sBreakDeadTimeConfig.BreakFilter = 0;
  sBreakDeadTimeConfig.Break2State = TIM_BREAK2_DISABLE;
  sBreakDeadTimeConfig.Break2Polarity = TIM_BREAK2POLARITY_HIGH;
  sBreakDeadTimeConfig.Break2Filter = 0;
  sBreakDeadTimeConfig.AutomaticOutput = TIM_AUTOMATICOUTPUT_DISABLE;
  if (HAL_TIMEx_ConfigBreakDeadTime(&htim8, &sBreakDeadTimeConfig) != HAL_OK)
  {
    Error_Handler();
  }
  HAL_TIM_MspPostInit(&htim8);

}

static void MX_TIM12_Init(void)
{

  TIM_MasterConfigTypeDef sMasterConfig = {0};
  TIM_OC_InitTypeDef sConfigOC = {0};

  htim12.Instance = TIM12;
  htim12.Init.Prescaler = 0;
  htim12.Init.CounterMode = TIM_COUNTERMODE_UP;
  htim12.Init.Period = 65535;
  htim12.Init.ClockDivision = TIM_CLOCKDIVISION_DIV1;
  htim12.Init.AutoReloadPreload = TIM_AUTORELOAD_PRELOAD_DISABLE;
  if (HAL_TIM_PWM_Init(&htim12) != HAL_OK)
  {
    Error_Handler();
  }
  sMasterConfig.MasterOutputTrigger = TIM_TRGO_RESET;
  sMasterConfig.MasterSlaveMode = TIM_MASTERSLAVEMODE_DISABLE;
  if (HAL_TIMEx_MasterConfigSynchronization(&htim12, &sMasterConfig) != HAL_OK)
  {
    Error_Handler();
  }
  sConfigOC.OCMode = TIM_OCMODE_PWM1;
  sConfigOC.Pulse = 0;
  sConfigOC.OCPolarity = TIM_OCPOLARITY_HIGH;
  sConfigOC.OCFastMode = TIM_OCFAST_DISABLE;
  if (HAL_TIM_PWM_ConfigChannel(&htim12, &sConfigOC, TIM_CHANNEL_1) != HAL_OK)
  {
    Error_Handler();
  }
  HAL_TIM_MspPostInit(&htim12);

}

static void MX_UART4_Init(void)
{

  huart4.Instance = UART4;
  huart4.Init.BaudRate = 9600;
  huart4.Init.WordLength = UART_WORDLENGTH_8B;
  huart4.Init.StopBits = UART_STOPBITS_1;
  huart4.Init.Parity = UART_PARITY_NONE;
  huart4.Init.Mode = UART_MODE_TX_RX;
  huart4.Init.HwFlowCtl = UART_HWCONTROL_NONE;
  huart4.Init.OverSampling = UART_OVERSAMPLING_16;
  huart4.Init.OneBitSampling = UART_ONE_BIT_SAMPLE_DISABLE;
  huart4.Init.ClockPrescaler = UART_PRESCALER_DIV1;
  huart4.AdvancedInit.AdvFeatureInit = UART_ADVFEATURE_NO_INIT;
  if (HAL_UART_Init(&huart4) != HAL_OK)
  {
    Error_Handler();
  }
  if (HAL_UARTEx_SetTxFifoThreshold(&huart4, UART_TXFIFO_THRESHOLD_1_8) != HAL_OK)
  {
    Error_Handler();
  }
  if (HAL_UARTEx_SetRxFifoThreshold(&huart4, UART_RXFIFO_THRESHOLD_1_8) != HAL_OK)
  {
    Error_Handler();
  }
  if (HAL_UARTEx_DisableFifoMode(&huart4) != HAL_OK)
  {
    Error_Handler();
  }

}

static void MX_GPIO_Init(void)
{
  GPIO_InitTypeDef GPIO_InitStruct = {0};

  /* GPIO Ports Clock Enable */
  __HAL_RCC_GPIOC_CLK_ENABLE();
  __HAL_RCC_GPIOH_CLK_ENABLE();
  __HAL_RCC_GPIOA_CLK_ENABLE();
  __HAL_RCC_GPIOB_CLK_ENABLE();
  __HAL_RCC_GPIOD_CLK_ENABLE();

  /*Configure GPIO pin Output Level */
  HAL_GPIO_WritePin(SPI2_CS_GPIO_OUTPUT_GPIO_Port, SPI2_CS_GPIO_OUTPUT_Pin, GPIO_PIN_RESET);

  /*Configure GPIO pin Output Level */
  HAL_GPIO_WritePin(INDICATOR1_RED_GPIO_Port, INDICATOR1_RED_Pin, GPIO_PIN_SET);

  /*Configure GPIO pin Output Level */
  HAL_GPIO_WritePin(INDICATOR2_GREEN_GPIO_Port, INDICATOR2_GREEN_Pin, GPIO_PIN_RESET);

  /*Configure GPIO pins : SPI2_CS_GPIO_OUTPUT_Pin INDICATOR1_RED_Pin */
  GPIO_InitStruct.Pin = SPI2_CS_GPIO_OUTPUT_Pin|INDICATOR1_RED_Pin;
  GPIO_InitStruct.Mode = GPIO_MODE_OUTPUT_PP;
  GPIO_InitStruct.Pull = GPIO_NOPULL;
  GPIO_InitStruct.Speed = GPIO_SPEED_FREQ_LOW;
  HAL_GPIO_Init(GPIOC, &GPIO_InitStruct);

  /*Configure GPIO pin : INDICATOR2_GREEN_Pin */
  GPIO_InitStruct.Pin = INDICATOR2_GREEN_Pin;
  GPIO_InitStruct.Mode = GPIO_MODE_OUTPUT_PP;
  GPIO_InitStruct.Pull = GPIO_NOPULL;
  GPIO_InitStruct.Speed = GPIO_SPEED_FREQ_LOW;
  HAL_GPIO_Init(INDICATOR2_GREEN_GPIO_Port, &GPIO_InitStruct);

  /*Configure GPIO pin : GPIO_INPUT_SW_ENCODER_Pin */
  GPIO_InitStruct.Pin = GPIO_INPUT_SW_ENCODER_Pin;
  GPIO_InitStruct.Mode = GPIO_MODE_INPUT;
  GPIO_InitStruct.Pull = GPIO_NOPULL;
  HAL_GPIO_Init(GPIO_INPUT_SW_ENCODER_GPIO_Port, &GPIO_InitStruct);

  /*AnalogSwitch Config */
  HAL_SYSCFG_AnalogSwitchConfig(SYSCFG_SWITCH_PC3, SYSCFG_SWITCH_PC3_CLOSE);

}

 /* MPU Configuration */

void MPU_Config(void)
{
  MPU_Region_InitTypeDef MPU_InitStruct = {0};

  /* Disables the MPU */
  HAL_MPU_Disable();

  /** Initializes and configures the Region and the memory to be protected
  */
  MPU_InitStruct.Enable = MPU_REGION_ENABLE;
  MPU_InitStruct.Number = MPU_REGION_NUMBER0;
  MPU_InitStruct.BaseAddress = 0x0;
  MPU_InitStruct.Size = MPU_REGION_SIZE_4GB;
  MPU_InitStruct.SubRegionDisable = 0x87;
  MPU_InitStruct.TypeExtField = MPU_TEX_LEVEL0;
  MPU_InitStruct.AccessPermission = MPU_REGION_NO_ACCESS;
  MPU_InitStruct.DisableExec = MPU_INSTRUCTION_ACCESS_DISABLE;
  MPU_InitStruct.IsShareable = MPU_ACCESS_SHAREABLE;
  MPU_InitStruct.IsCacheable = MPU_ACCESS_NOT_CACHEABLE;
  MPU_InitStruct.IsBufferable = MPU_ACCESS_NOT_BUFFERABLE;

  HAL_MPU_ConfigRegion(&MPU_InitStruct);
  /* Enables the MPU */
  HAL_MPU_Enable(MPU_PRIVILEGED_DEFAULT);

}

void Error_Handler(void)
{
  __disable_irq();
  while (1)
  {
  }
}
